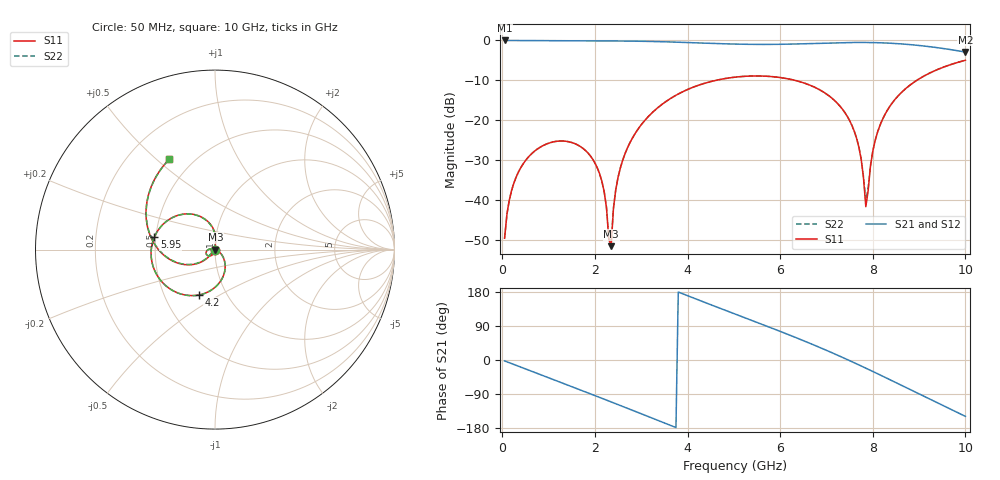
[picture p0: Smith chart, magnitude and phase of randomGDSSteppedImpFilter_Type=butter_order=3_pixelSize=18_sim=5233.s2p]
! freq	dB(S11)	phase(S11)	dB(S12)	phase(S12)
!  dB(S21)	phase(S21)	dB(S22)	phase(S22)
!S-par simulation data
#  GHz  S  DB  R 50
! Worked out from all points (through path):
!   200 points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, 50 MHz to 10 GHz, reference 50 ohm
!   highest |S21| = -0.01 dB at 50 MHz (marker M1); lowest = -2.9 dB at 10 GHz (marker M2)
!   group delay of S21, straight-line fit = 139 ps
!   lowest |S11| = -51.7 dB at 2.35 GHz (marker M3), VSWR 1.01, Z = 50.3 + j0.0559 ohm
!   |S11| at or under -10 dB: start of sweep to 4.622 GHz; 6.31 GHz to 8.953 GHz (2.643 GHz wide, 34.6 % of centre)
!   |S22| runs from -51.0 to -5.0 dB; largest |S21 - S12| = 0
!   S11 on the Smith chart (normalised r, x): 50 MHz: 1.00, -0.01; 4.2 GHz: 0.74, -0.40; 5.95 GHz: 0.49, +0.08; 10 GHz: 0.37, +0.55
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0.05  -49.68 -87.8  -0.01 -2.4  -0.01 -2.4  -49.68 -87.8
0.2  -37.71 -98.5  -0.02 -9.4  -0.02 -9.4  -37.71 -98.5
0.55  -29.47 -116.1  -0.04 -25.9  -0.04 -25.9  -29.47 -116.1
1.15  -25.37 -145.2  -0.07 -53.9  -0.07 -53.9  -25.37 -145.3
1.75  -27.18 -174.0  -0.10 -82.1  -0.10 -82.1  -27.18 -174.3
2.15  -35.37 164.6  -0.12 -101.0  -0.12 -101.0  -35.35 163.4
2.3  -49.97 136.7  -0.12 -108.2  -0.12 -108.2  -49.49 130.3
2.35  -51.68 12.3  -0.13 -110.5  -0.13 -110.5  -50.95 18.9
2.45  -37.53 -20.8  -0.13 -115.3  -0.13 -115.3  -37.50 -19.0
2.6  -30.08 -31.0  -0.15 -122.5  -0.15 -122.5  -30.07 -30.1
3.4  -16.50 -71.3  -0.31 -161.3  -0.31 -161.3  -16.50 -71.1
4.2  -11.40 -109.9  -0.61 160.2  -0.61 160.2  -11.40 -109.7
5.05  -9.19 -149.6  -0.92 120.2  -0.92 120.2  -9.19 -149.4
5.95  -9.24 168.5  -0.98 78.0  -0.98 78.0  -9.24 168.7
6.7  -11.52 131.9  -0.77 41.1  -0.77 41.1  -11.52 132.2
7.55  -21.35 89.1  -0.52 -4.4  -0.52 -4.4  -21.33 90.2
7.75  -29.87 85.2  -0.51 -15.8  -0.51 -15.8  -29.75 88.4
7.85  -41.75 135.5  -0.51 -21.5  -0.51 -21.5  -40.18 138.6
8.05  -25.21 -131.4  -0.55 -33.1  -0.55 -33.1  -25.17 -133.5
8.35  -16.88 -145.1  -0.68 -50.8  -0.68 -50.8  -16.87 -145.9
9.1  -8.98 171.0  -1.39 -95.4  -1.39 -95.4  -8.98 170.6
10  -4.98 116.9  -2.92 -148.7  -2.92 -148.7  -4.98 116.7
